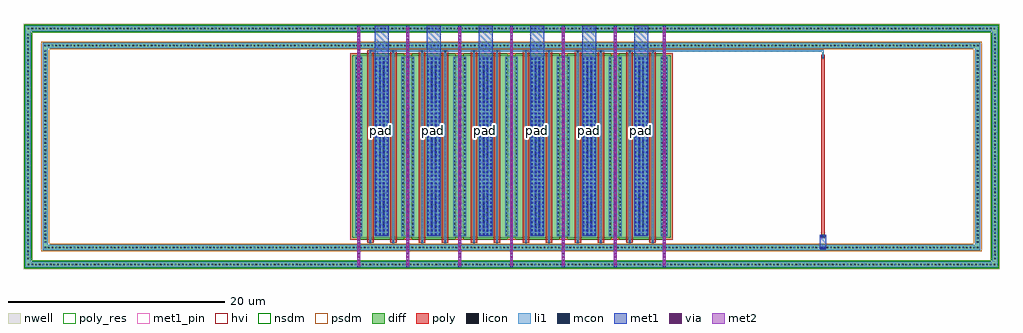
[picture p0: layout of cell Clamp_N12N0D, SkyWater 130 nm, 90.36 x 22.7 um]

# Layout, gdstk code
import gdstk
lib = gdstk.Library(unit=1e-6, precision=1e-09)
def R(c, l, rs):  # rectangles x0, y0, x1, y1
    for r in rs: c.add(gdstk.rectangle(r[:2], r[2:], *l))
def A(c, l, x, y, w, h, nx, ny, dx, dy):  # array of equal rectangles
    R(c, l, [(x+i*dx, y+j*dy, x+i*dx+w, y+j*dy+h) for i in range(nx) for j in range(ny)])
def P(c, l, *ps):  # polygons
    for p in ps: c.add(gdstk.Polygon(p, *l))
nwell = (64, 20)
diff = (65, 20)
poly_res = (66, 13)
poly = (66, 20)
licon = (66, 44)
li1 = (67, 20)
mcon = (67, 44)
met1_pin = (68, 16)
met1 = (68, 20)
via = (68, 44)
met2 = (69, 20)
hvi = (75, 20)
nsdm = (93, 44)
psdm = (94, 20)

guardring_n18000w4468hff = lib.new_cell('GuardRing_N18000W4468HFF')
P(guardring_n18000w4468hff, nwell, [(-45.18,-11.35),(-45.18,10.51),(-44.34,10.51),(-44.34,-10.51),(44.34,-10.51),(44.34,10.51),(-45.18,10.51),(-45.18,11.35),(45.18,11.35),(45.18,-11.35)])
P(guardring_n18000w4468hff, diff, [(-45,-11.17),(-45,10.69),(-44.52,10.69),(-44.52,-10.69),(44.52,-10.69),(44.52,10.69),(-45,10.69),(-45,11.17),(45,11.17),(45,-11.17)])
A(guardring_n18000w4468hff, licon, -44.795, -11.015, 0.17, 0.17, 264, 2, 0.34, 21.86)
A(guardring_n18000w4468hff, licon, -44.845, -10.455, 0.17, 0.17, 1, 62, 0, 0.34)
A(guardring_n18000w4468hff, licon, 44.675, -10.455, 0.17, 0.17, 1, 62, 0, 0.34)
P(guardring_n18000w4468hff, li1, [(-45,-11.17),(-45,10.69),(-44.52,10.69),(-44.52,-10.69),(44.52,-10.69),(44.52,10.69),(-45,10.69),(-45,11.17),(45,11.17),(45,-11.17)])
P(guardring_n18000w4468hff, nsdm, [(-45.125,-11.295),(-45.125,10.565),(-44.395,10.565),(-44.395,-10.565),(44.395,-10.565),(44.395,10.565),(-45.125,10.565),(-45.125,11.295),(45.125,11.295),(45.125,-11.295)])

guardring_p17368w3836hff = lib.new_cell('GuardRing_P17368W3836HFF')
P(guardring_p17368w3836hff, diff, [(-43.42,-9.59),(-43.42,9.11),(-42.94,9.11),(-42.94,-9.11),(42.94,-9.11),(42.94,9.11),(-43.42,9.11),(-43.42,9.59),(43.42,9.59),(43.42,-9.59)])
A(guardring_p17368w3836hff, licon, -43.265, -9.435, 0.17, 0.17, 255, 2, 0.34, 18.7)
A(guardring_p17368w3836hff, licon, -43.265, -8.925, 0.17, 0.17, 1, 53, 0, 0.34)
A(guardring_p17368w3836hff, licon, 43.095, -8.925, 0.17, 0.17, 1, 53, 0, 0.34)
P(guardring_p17368w3836hff, li1, [(-43.42,-9.59),(-43.42,9.11),(-42.94,9.11),(-42.94,-9.11),(42.94,-9.11),(42.94,9.11),(-43.42,9.11),(-43.42,9.59),(43.42,9.59),(43.42,-9.59)])
P(guardring_p17368w3836hff, psdm, [(-43.545,-9.715),(-43.545,8.985),(-42.815,8.985),(-42.815,-8.985),(42.815,-8.985),(42.815,8.985),(-43.545,8.985),(-43.545,9.715),(43.545,9.715),(43.545,-9.715)])

clamp_n12n0d = lib.new_cell('Clamp_N12N0D')
R(clamp_n12n0d, diff, [(30.25,2.72,59.75,19.62)])
R(clamp_n12n0d, poly_res, [(73.675,2.985,74.015,19.355)])
R(clamp_n12n0d, poly, [(31.635,2.26,32.235,20.08), (33.765,2.26,34.365,20.08), (36.435,2.26,37.035,20.08), (38.565,2.26,39.165,20.08), (41.235,2.26,41.835,20.08), (43.365,2.26,43.965,20.08), (46.035,2.26,46.635,20.08), (48.165,2.26,48.765,20.08), (50.835,2.26,51.435,20.08), (52.965,2.26,53.565,20.08), (55.635,2.26,56.235,20.08), (57.765,2.26,58.365,20.08), (73.68,2.69,74.01,19.65)])
A(clamp_n12n0d, licon, 30.515, 2.925, 0.17, 0.17, 1, 49, 0, 0.34)
A(clamp_n12n0d, licon, 31.025, 2.925, 0.17, 0.17, 1, 49, 0, 0.34)
A(clamp_n12n0d, licon, 32.745, 2.925, 0.17, 0.17, 1, 49, 0, 0.34)
A(clamp_n12n0d, licon, 33.085, 2.925, 0.17, 0.17, 1, 49, 0, 0.34)
A(clamp_n12n0d, licon, 34.805, 2.925, 0.17, 0.17, 3, 49, 0.51, 0.34)
A(clamp_n12n0d, licon, 37.545, 2.925, 0.17, 0.17, 1, 49, 0, 0.34)
A(clamp_n12n0d, licon, 37.885, 2.925, 0.17, 0.17, 1, 49, 0, 0.34)
A(clamp_n12n0d, licon, 39.605, 2.925, 0.17, 0.17, 3, 49, 0.51, 0.34)
A(clamp_n12n0d, licon, 42.345, 2.925, 0.17, 0.17, 1, 49, 0, 0.34)
A(clamp_n12n0d, licon, 42.685, 2.925, 0.17, 0.17, 1, 49, 0, 0.34)
A(clamp_n12n0d, licon, 44.405, 2.925, 0.17, 0.17, 3, 49, 0.51, 0.34)
A(clamp_n12n0d, licon, 47.145, 2.925, 0.17, 0.17, 1, 49, 0, 0.34)
A(clamp_n12n0d, licon, 47.485, 2.925, 0.17, 0.17, 1, 49, 0, 0.34)
A(clamp_n12n0d, licon, 49.205, 2.925, 0.17, 0.17, 3, 49, 0.51, 0.34)
A(clamp_n12n0d, licon, 51.945, 2.925, 0.17, 0.17, 1, 49, 0, 0.34)
A(clamp_n12n0d, licon, 52.285, 2.925, 0.17, 0.17, 1, 49, 0, 0.34)
A(clamp_n12n0d, licon, 54.005, 2.925, 0.17, 0.17, 3, 49, 0.51, 0.34)
A(clamp_n12n0d, licon, 56.745, 2.925, 0.17, 0.17, 1, 49, 0, 0.34)
A(clamp_n12n0d, licon, 57.085, 2.925, 0.17, 0.17, 1, 49, 0, 0.34)
A(clamp_n12n0d, licon, 58.805, 2.925, 0.17, 0.17, 1, 49, 0, 0.34)
A(clamp_n12n0d, licon, 59.315, 2.925, 0.17, 0.17, 1, 49, 0, 0.34)
R(clamp_n12n0d, licon, [(31.85,2.31,32.02,2.48), (33.98,2.31,34.15,2.48), (36.65,2.31,36.82,2.48), (38.78,2.31,38.95,2.48), (41.45,2.31,41.62,2.48), (43.58,2.31,43.75,2.48), (46.25,2.31,46.42,2.48), (48.38,2.31,48.55,2.48), (51.05,2.31,51.22,2.48), (53.18,2.31,53.35,2.48), (55.85,2.31,56.02,2.48), (57.98,2.31,58.15,2.48), (73.76,2.77,73.93,2.94), (73.76,19.4,73.93,19.57), (31.85,19.86,32.02,20.03), (33.98,19.86,34.15,20.03), (36.65,19.86,36.82,20.03), (38.78,19.86,38.95,20.03), (41.45,19.86,41.62,20.03), (43.58,19.86,43.75,20.03), (46.25,19.86,46.42,20.03), (48.38,19.86,48.55,20.03), (51.05,19.86,51.22,20.03), (53.18,19.86,53.35,20.03), (55.85,19.86,56.02,20.03), (57.98,19.86,58.15,20.03)])
A(clamp_n12n0d, li1, 35.315, 1.58, 0.17, 0.48, 5, 2, 4.8, 18.7)
A(clamp_n12n0d, li1, 32.375, 2.845, 1.25, 16.65, 6, 1, 4.8, 0)
A(clamp_n12n0d, li1, 34.805, 2.845, 1.19, 16.65, 5, 1, 4.8, 0)
R(clamp_n12n0d, li1, [(30.77,1.58,30.94,2.06), (59.06,1.58,59.23,2.06), (73.58,1.735,74.11,1.905), (30.515,2.845,31.195,19.495), (58.805,2.845,59.485,19.495), (30.77,20.28,30.94,20.76), (59.06,20.28,59.23,20.76)])
P(clamp_n12n0d, li1, [(73.76,2.69),(73.76,2.77),(73.58,2.77),(73.58,2.94),(73.76,2.94),(73.76,3.02),(73.93,3.02),(73.93,2.94),(74.11,2.94),(74.11,2.77),(73.93,2.77),(73.93,2.69)],
  [(31.85,2.23),(31.85,20.11),(73.93,20.11),(73.93,19.32),(73.76,19.32),(73.76,19.94),(58.15,19.94),(58.15,2.23),(57.98,2.23),(57.98,19.94),(56.02,19.94),(56.02,2.23),(55.85,2.23),(55.85,19.94),(53.35,19.94),(53.35,2.23),(53.18,2.23),(53.18,19.94),(51.22,19.94),(51.22,2.23),(51.05,2.23),(51.05,19.94),(48.55,19.94),(48.55,2.23),(48.38,2.23),(48.38,19.94),(46.42,19.94),(46.42,2.23),(46.25,2.23),(46.25,19.94),(43.75,19.94),(43.75,2.23),(43.58,2.23),(43.58,19.94),(41.62,19.94),(41.62,2.23),(41.45,2.23),(41.45,19.94),(38.95,19.94),(38.95,2.23),(38.78,2.23),(38.78,19.94),(36.82,19.94),(36.82,2.23),(36.65,2.23),(36.65,19.94),(34.15,19.94),(34.15,2.23),(33.98,2.23),(33.98,19.94),(32.02,19.94),(32.02,2.23)])
A(clamp_n12n0d, mcon, 35.315, 1.735, 0.17, 0.17, 5, 2, 4.8, 18.7)
A(clamp_n12n0d, mcon, 30.77, 2.985, 0.17, 0.17, 1, 46, 0, 0.36)
A(clamp_n12n0d, mcon, 32.375, 2.985, 0.17, 0.17, 4, 46, 0.36, 0.36)
A(clamp_n12n0d, mcon, 35.315, 2.985, 0.17, 0.17, 1, 46, 0, 0.36)
A(clamp_n12n0d, mcon, 37.175, 2.985, 0.17, 0.17, 4, 46, 0.36, 0.36)
A(clamp_n12n0d, mcon, 40.115, 2.985, 0.17, 0.17, 1, 46, 0, 0.36)
A(clamp_n12n0d, mcon, 41.975, 2.985, 0.17, 0.17, 4, 46, 0.36, 0.36)
A(clamp_n12n0d, mcon, 44.915, 2.985, 0.17, 0.17, 1, 46, 0, 0.36)
A(clamp_n12n0d, mcon, 46.775, 2.985, 0.17, 0.17, 4, 46, 0.36, 0.36)
A(clamp_n12n0d, mcon, 49.715, 2.985, 0.17, 0.17, 1, 46, 0, 0.36)
A(clamp_n12n0d, mcon, 51.575, 2.985, 0.17, 0.17, 4, 46, 0.36, 0.36)
A(clamp_n12n0d, mcon, 54.515, 2.985, 0.17, 0.17, 1, 46, 0, 0.36)
A(clamp_n12n0d, mcon, 56.375, 2.985, 0.17, 0.17, 4, 46, 0.36, 0.36)
A(clamp_n12n0d, mcon, 59.06, 2.985, 0.17, 0.17, 1, 46, 0, 0.36)
R(clamp_n12n0d, mcon, [(30.77,1.735,30.94,1.905), (59.06,1.735,59.23,1.905), (73.58,1.735,73.75,1.905), (73.94,1.735,74.11,1.905), (73.58,2.77,73.75,2.94), (73.94,2.77,74.11,2.94), (30.77,20.435,30.94,20.605), (59.06,20.435,59.23,20.605)])
A(clamp_n12n0d, met1_pin, 32.345, 2.925, 1.31, 19.415, 6, 1, 4.8, 0)
A(clamp_n12n0d, met1, 35.27, 0, 0.26, 22.34, 5, 1, 4.8, 0)
A(clamp_n12n0d, met1, 32.345, 2.925, 1.31, 19.415, 6, 1, 4.8, 0)
R(clamp_n12n0d, met1, [(30.725,0,30.985,22.34), (59.015,0,59.275,22.34), (73.55,1.675,74.14,3)])
A(clamp_n12n0d, via, 30.78, 0.215, 0.15, 0.15, 1, 69, 0, 0.32)
A(clamp_n12n0d, via, 35.325, 0.215, 0.15, 0.15, 5, 69, 4.8, 0.32)
A(clamp_n12n0d, via, 59.07, 0.215, 0.15, 0.15, 1, 69, 0, 0.32)
A(clamp_n12n0d, met2, 35.27, 0.13, 0.26, 22.08, 5, 1, 4.8, 0)
R(clamp_n12n0d, met2, [(30.725,0.13,30.985,22.21), (59.015,0.13,59.275,22.21)])
R(clamp_n12n0d, hvi, [(30.05,2.52,59.95,19.82)])
A(clamp_n12n0d, nsdm, 30.95, 2.595, 4.1, 17.15, 6, 1, 4.8, 0)
A(clamp_n12n0d, psdm, 35.05, 2.595, 0.7, 17.15, 5, 1, 4.8, 0)
R(clamp_n12n0d, psdm, [(30.125,2.595,30.95,19.745), (59.05,2.595,59.875,19.745)])
clamp_n12n0d.add(gdstk.Reference(guardring_n18000w4468hff, (45,11.17)))
clamp_n12n0d.add(gdstk.Reference(guardring_p17368w3836hff, (45,11.17)))
clamp_n12n0d.add(gdstk.Label('pad', (52.2,12.633), layer=68, texttype=16))
clamp_n12n0d.add(gdstk.Label('pad', (42.6,12.633), layer=68, texttype=16))
clamp_n12n0d.add(gdstk.Label('pad', (37.8,12.633), layer=68, texttype=16))
clamp_n12n0d.add(gdstk.Label('pad', (57,12.633), layer=68, texttype=16))
clamp_n12n0d.add(gdstk.Label('pad', (47.4,12.633), layer=68, texttype=16))
clamp_n12n0d.add(gdstk.Label('pad', (33,12.633), layer=68, texttype=16))

lib.write_gds('Clamp_N12N0D.gds')
